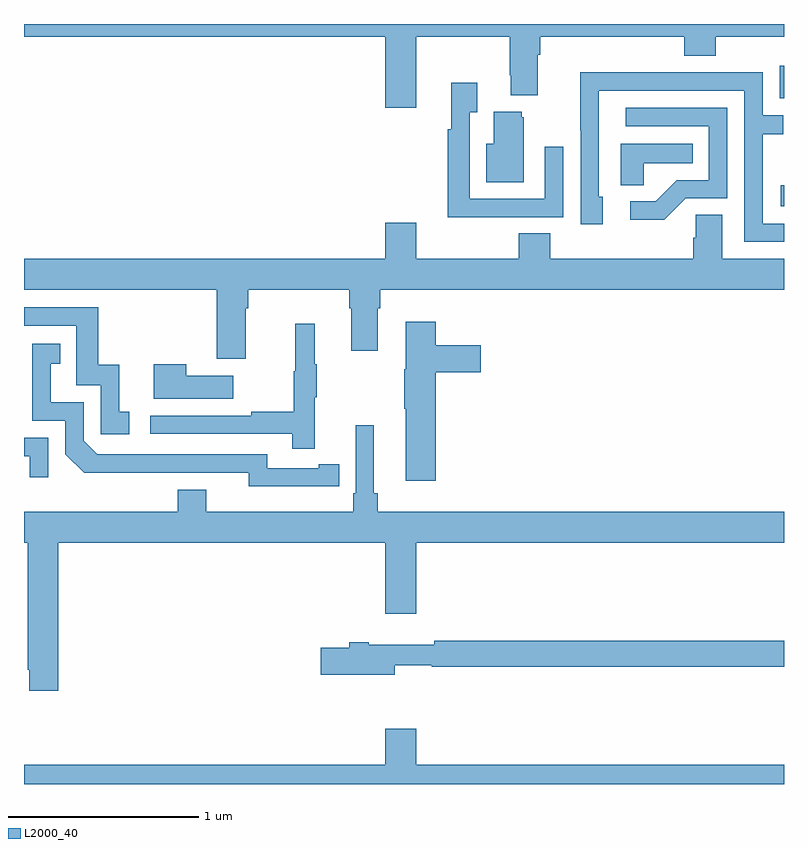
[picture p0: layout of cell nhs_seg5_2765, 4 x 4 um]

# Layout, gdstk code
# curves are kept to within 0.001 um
import gdstk
lib = gdstk.Library(unit=1e-6, precision=1e-09)
def R(c, l, rs):  # rectangles x0, y0, x1, y1
    for r in rs: c.add(gdstk.rectangle(r[:2], r[2:], *l))
def P(c, l, *ps):  # polygons
    for p in ps: c.add(gdstk.Polygon(p, *l))
L2000_40 = (2000, 40)

nhs_seg5_2765 = lib.new_cell('nhs_seg5_2765')
R(nhs_seg5_2765, L2000_40, [(274.983,883.841,275,883.951), (274.977,884.409,275,884.578)])
P(nhs_seg5_2765, L2000_40, [(273.064,884.732),(273.556,884.732),(273.556,884.53),(273.563,884.53),(273.563,884.423),(273.703,884.423),(273.703,884.636),(273.716,884.636),(273.716,884.732),(274.475,884.732),(274.475,884.633),(274.64,884.633),(274.64,884.732),(275,884.732),(275,884.799),(271,884.799),(271,884.732),(272.9,884.732),(272.9,884.358),(273.064,884.358)],
  [(275,883.749),(274.887,883.749),(274.887,884.218),(274.997,884.218),(274.997,884.319),(274.887,884.319),(274.887,884.544),(274.391,884.544),(274.391,884.546),(273.928,884.546),(273.928,884.239),(273.93,884.239),(273.93,883.746),(274.045,883.746),(274.045,883.89),(274.026,883.89),(274.026,884.448),(274.791,884.448),(274.791,883.653),(275,883.653)],
  [(273.521,883.782),(273.837,883.782),(273.837,884.152),(273.741,884.152),(273.741,883.878),(273.345,883.878),(273.345,884.335),(273.385,884.335),(273.385,884.491),(273.248,884.491),(273.248,884.246),(273.229,884.246),(273.229,883.781),(273.521,883.781)],
  [(274.482,883.881),(274.701,883.881),(274.701,884.358),(274.167,884.358),(274.167,884.262),(274.605,884.262),(274.605,883.977),(274.436,883.977),(274.325,883.866),(274.191,883.866),(274.191,883.769),(274.369,883.769)],
  [(273.631,884.307),(273.62,884.307),(273.62,884.338),(273.473,884.338),(273.473,884.17),(273.434,884.17),(273.434,883.967),(273.631,883.967)],
  [(274.263,884.066),(274.52,884.066),(274.52,884.17),(274.142,884.17),(274.142,883.951),(274.263,883.951)],
  [(272.167,883.304),(272.18,883.304),(272.18,883.4),(272.711,883.4),(272.711,883.304),(272.723,883.304),(272.723,883.08),(272.863,883.08),(272.863,883.304),(272.876,883.304),(272.876,883.4),(275,883.4),(275,883.564),(274.675,883.564),(274.675,883.796),(274.536,883.796),(274.536,883.673),(274.523,883.673),(274.523,883.564),(273.77,883.564),(273.77,883.697),(273.605,883.697),(273.605,883.564),(273.064,883.564),(273.064,883.753),(272.9,883.753),(272.9,883.564),(271,883.564),(271,883.4),(272.015,883.4),(272.015,883.038),(272.167,883.038)],
  [(271.555,882.759),(271.502,882.759),(271.502,883.006),(271.391,883.006),(271.391,883.308),(271,883.308),(271,883.212),(271.275,883.212),(271.275,882.897),(271.404,882.897),(271.404,882.639),(271.555,882.639)],
  [(273.167,882.965),(273.403,882.965),(273.403,883.107),(273.167,883.107),(273.167,883.231),(273.008,883.231),(273.008,882.981),(273.001,882.981),(273.001,882.775),(273.008,882.775),(273.008,882.396),(273.167,882.396)],
  [(272.531,882.835),(272.542,882.835),(272.542,883.009),(272.531,883.009),(272.531,883.222),(272.428,883.222),(272.428,882.972),(272.421,882.972),(272.421,882.758),(272.197,882.758),(272.197,882.738),(271.665,882.738),(271.665,882.642),(272.413,882.642),(272.413,882.564),(272.531,882.564)],
  [(272.552,882.366),(272.66,882.366),(272.66,882.482),(272.552,882.482),(272.552,882.462),(272.28,882.462),(272.28,882.534),(271.386,882.534),(271.314,882.606),(271.314,882.807),(271.141,882.807),(271.141,883.011),(271.19,883.011),(271.19,883.117),(271.044,883.117),(271.044,882.711),(271.218,882.711),(271.218,882.534),(271.316,882.437),(272.184,882.438),(272.184,882.365)],
  [(272.101,882.949),(271.853,882.949),(271.853,883.009),(271.682,883.009),(271.682,882.827),(272.101,882.827)],
  [(271.181,882.068),(272.9,882.068),(272.9,881.694),(273.064,881.694),(273.064,882.068),(275,882.068),(275,882.232),(272.861,882.232),(272.861,882.328),(272.842,882.328),(272.842,882.688),(272.745,882.688),(272.745,882.328),(272.732,882.328),(272.732,882.232),(271.96,882.232),(271.96,882.349),(271.808,882.349),(271.808,882.232),(271,882.232),(271,882.068),(271.021,882.068),(271.021,881.401),(271.027,881.401),(271.027,881.289),(271.181,881.289)],
  [(271.128,882.621),(271,882.621),(271,882.525),(271.031,882.525),(271.031,882.414),(271.128,882.414)],
  [(272.95,881.424),(273.146,881.424),(273.146,881.416),(275,881.416),(275,881.552),(273.16,881.552),(273.16,881.533),(272.815,881.533),(272.815,881.546),(272.711,881.546),(272.711,881.516),(272.562,881.516),(272.562,881.374),(272.95,881.374)],
  [(275,880.9),(273.064,880.9),(273.064,881.089),(272.9,881.089),(272.9,880.9),(271,880.9),(271,880.799),(275,880.799)])

lib.write_gds('nhs_seg5_2765.gds')
